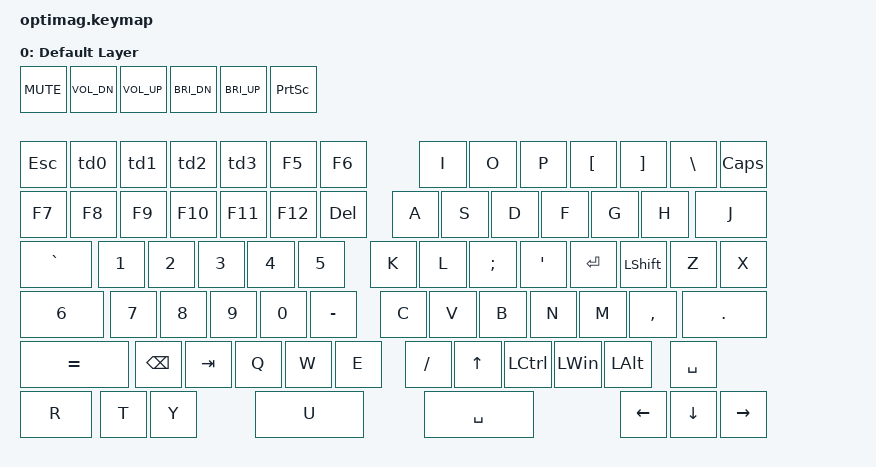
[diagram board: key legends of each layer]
/*
 * Copyright (c) 2020 The ZMK Contributors
 *
 * SPDX-License-Identifier: MIT
 */

#include <behaviors.dtsi>
#include <dt-bindings/zmk/keys.h>
#include <dt-bindings/zmk/bt.h>
#include <dt-bindings/zmk/outputs.h>
#include <dt-bindings/zmk/ext_power.h>
#include <dt-bindings/zmk/rgb.h>

#define DEFAULT 0
#define LOWER   1

/ {
    behaviors {
        td0: tap_dance_0 {
            compatible = "zmk,behavior-tap-dance";
            #binding-cells = <0>;
            tapping-term-ms = <200>;
            bindings = <&kp F1>, <&bt BT_CLR>;
        };
        td1: tap_dance_1 {
            compatible = "zmk,behavior-tap-dance";
            #binding-cells = <0>;
            tapping-term-ms = <200>;
            bindings = <&kp F2>, <&bt BT_SEL 0>;
        };
        td2: tap_dance_2 {
            compatible = "zmk,behavior-tap-dance";
            #binding-cells = <0>;
            tapping-term-ms = <200>;
            bindings = <&kp F3>, <&bt BT_SEL 1>;
        };
        td3: tap_dance_3 {
            compatible = "zmk,behavior-tap-dance";
            #binding-cells = <0>;
            tapping-term-ms = <200>;
            bindings = <&kp F4>, <&bt BT_CLR>;
        };
        td4: tap_dance_4 {
            compatible = "zmk,behavior-tap-dance";
            #binding-cells = <0>;
            tapping-term-ms = <200>;
            bindings = <&kp F5>, <&studio_unlock>;
        };
    };

    keymap {
        compatible = "zmk,keymap";

        default_layer {
            display-name = "Default Layer";
            // |mute|vold|volu|    |brid|briu|prnt|
            // |esc | f1 | f2 | f3 | f4 | f5 | f6 |     | f7 | f8 | f9 | f10| f11| f12|    |del |
            // | ~` | !1 | @2 | #3 | $4 | %5 | ^6 |     | &7 | *8 | (9 | )0 | _- | += |    |bksp|
            // |tab |  q |  w |    |  e |  r |  t |     |  y |  u |  i |  o |  p | {[ | ]} | |\ |
            // |caps|  a |  s |    |  d |  f |  g |     |  h |  j |  k |  l | :; | "' |ent |
            // |shif|  z |  x |    |  c |  v |  b |     |  n |  m | <, | .> | ?/ |    | up |
            // |ctrl|win |alt |              |spac|     |spac|              |left|    |down|rigt|
            bindings = <
            &kp C_MUTE &kp C_VOL_DN &kp C_VOL_UP &kp C_BRI_DN &kp C_BRI_UP &kp PSCRN
            &kp ESC     &td0    &td1    &td2   &td3     &kp F5  &kp F6      &kp F7 &kp F8 &kp F9 &kp F10 &kp F11 &kp F12 &kp DEL
            &kp GRAVE  &kp N1   &kp N2  &kp N3  &kp N4  &kp N5  &kp N6      &kp N7 &kp N8 &kp N9 &kp N0 &kp MINUS &kp EQUAL &kp BSPC
            &kp TAB     &kp Q   &kp W   &kp E   &kp R   &kp T               &kp Y &kp U &kp I &kp O &kp P &kp LBKT &kp RBKT &kp BSLH
            &kp CAPS &kp A &kp S &kp D &kp F &kp G                          &kp H &kp J &kp K &kp L &kp SEMI &kp SQT &kp ENTER
            &kp LSHIFT &kp Z &kp X &kp C &kp V &kp B                        &kp N &kp M &kp COMMA &kp DOT &kp FSLH &kp UP
            &kp LCTRL &kp LWIN &kp LALT &kp SPACE                           &kp SPACE &kp LEFT &kp DOWN &kp RIGHT
            >;
        };
    };
};
